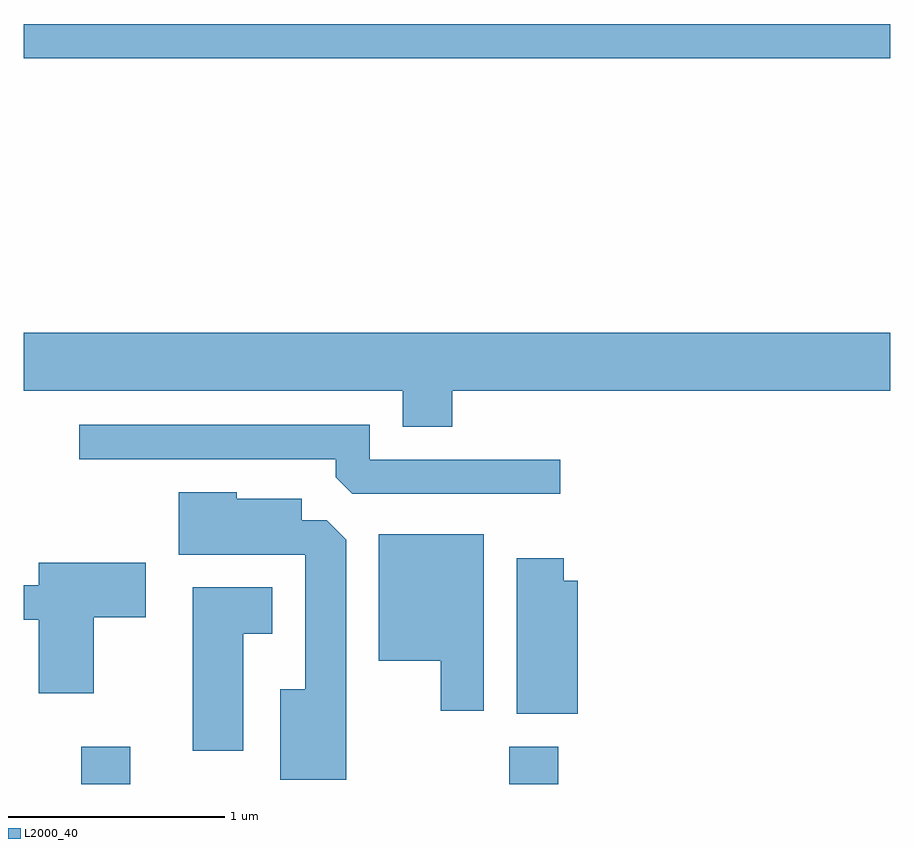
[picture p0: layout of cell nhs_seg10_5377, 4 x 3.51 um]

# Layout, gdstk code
import gdstk
lib = gdstk.Library(unit=1e-6, precision=1e-09)
def R(c, l, rs):  # rectangles x0, y0, x1, y1
    for r in rs: c.add(gdstk.rectangle(r[:2], r[2:], *l))
def P(c, l, *ps):  # polygons
    for p in ps: c.add(gdstk.Polygon(p, *l))
L2000_40 = (2000, 40)

nhs_seg10_5377 = lib.new_cell('nhs_seg10_5377')
R(nhs_seg10_5377, L2000_40, [(343.876,2136.522,344.104,2136.694), (345.851,2136.522,346.079,2136.694), (343.611,2139.871,347.611,2140.029)])
P(nhs_seg10_5377, L2000_40, [(345.589,2138.336),(347.611,2138.336),(347.611,2138.604),(343.611,2138.604),(343.611,2138.336),(345.361,2138.336),(345.361,2138.171),(345.589,2138.171)],
  [(346.088,2138.019),(345.209,2138.019),(345.209,2138.179),(343.868,2138.179),(343.868,2138.021),(345.051,2138.021),(345.051,2137.937),(345.127,2137.861),(346.088,2137.861)],
  [(345.099,2137.649),(345.009,2137.739),(344.894,2137.739),(344.894,2137.839),(344.594,2137.839),(344.594,2137.869),(344.326,2137.869),(344.326,2137.581),(344.911,2137.581),(344.911,2136.959),(344.796,2136.959),(344.796,2136.541),(345.099,2136.541)],
  [(345.734,2137.674),(345.251,2137.674),(345.251,2137.091),(345.536,2137.091),(345.536,2136.861),(345.734,2136.861)],
  [(346.169,2137.459),(346.104,2137.459),(346.104,2137.564),(345.886,2137.564),(345.886,2136.846),(346.169,2136.846)],
  [(343.934,2137.291),(344.174,2137.291),(344.174,2137.544),(343.681,2137.544),(343.681,2137.439),(343.611,2137.439),(343.611,2137.281),(343.681,2137.281),(343.681,2136.941),(343.934,2136.941)],
  [(344.624,2137.216),(344.759,2137.216),(344.759,2137.429),(344.391,2137.429),(344.391,2136.676),(344.624,2136.676)])

lib.write_gds('nhs_seg10_5377.gds')
